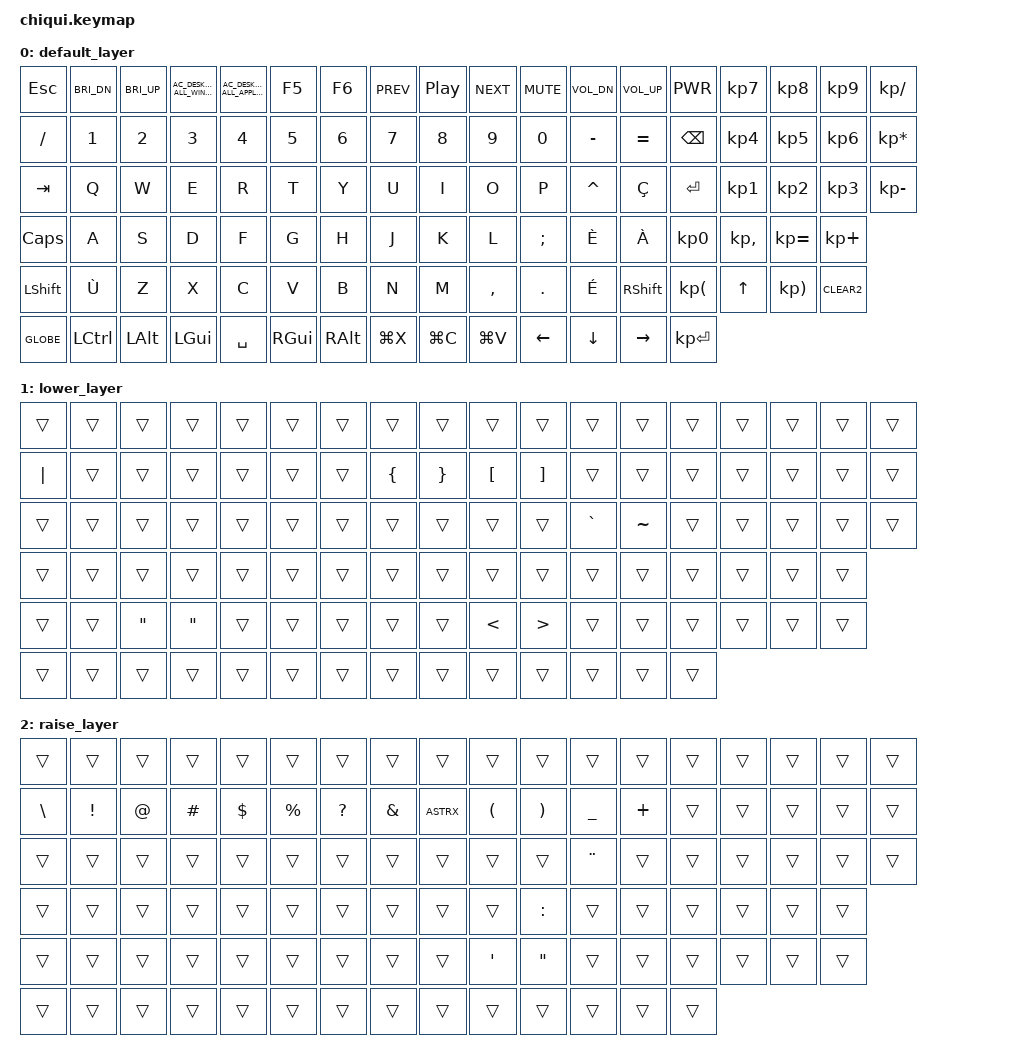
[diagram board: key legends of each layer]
/*
 * Copyright (c) 2020 The ZMK Contributors
 *
 * SPDX-License-Identifier: MIT
 */

#include <behaviors.dtsi>
#include <dt-bindings/zmk/keys.h>
#include <dt-bindings/zmk/bt.h>

/ {
        keymap {
                compatible = "zmk,keymap";

                default_layer { 
// -----------------------------------------------------------------------------------------
// | ESC  |  F1  |  F2  |  F3  |  F4  |  F5  |  F6  |  F7  |  F8  |  F9  |  F10 |  F11 |  F12 | PWR  ||  7   |  8   |  9   |  /   |
// |  /   |  1   |  2   |  3   |  4   |  5   |  6   |  7   |  8   |  9   |  0   |  -   |  =   | BSPC ||  4   |  5   |  6   |  *   |
// | TAB  |  Q   |  W   |  E   |  R   |  T   |  Y   |  U   |  I   |  O   |  P   |  ^   |  Ç   | ENT  ||  1   |  2   |  3   |  -   |
// | CAPS |  A   |  S   |  D   |  F   |  G   |  H   |  J   |  K   |  L   |  ;   |  È   |  À   |      ||  0   |  ,   |  =   |  +   |
// | SHFT |  Ù   |  Z   |  X   |  C   |  V   |  B   |  N   |  M   |  ,   |  .   |  É   | SHFT |      ||  (   |  UP  |  )   | CLEAR|
// | GLOBE| CTRL | LALT | LGUI |      |      |  SPC |      |      | RGUI | RALT | CMD+X| CMD+C| CMD+V|| LEFT | DOWN | RIGHT| ENTER|
                        bindings = <
   &kp ESC &kp C_BRI_DN &kp C_BRI_UP &kp C_AC_DESKTOP_SHOW_ALL_WINDOWS &kp C_AC_DESKTOP_SHOW_ALL_APPLICATIONS &kp F5 &kp F6 &kp C_PREV &kp C_PP &kp C_NEXT &kp C_MUTE &kp C_VOL_DN &kp C_VOL_UP &kp C_PWR &kp KP_N7 &kp KP_N8 &kp KP_N9 &kp KP_SLASH

   &kp SLASH &kp N1 &kp N2 &kp N3 &kp N4 &kp N5 &kp N6 &kp N7 &kp N8 &kp N9 &kp N0 &kp MINUS &kp EQUAL &kp BSPC &kp KP_N4 &kp KP_N5 &kp KP_N6 &kp KP_ASTERISK

   &kp TAB &kp Q &kp W &kp E &kp R &kp T &kp Y &kp U &kp I &kp O &kp P &kp CARET &kp Ç &kp ENTER &kp KP_N1 &kp KP_N2 &kp KP_N3 &kp KP_MINUS

   &kp CAPS &kp A &kp S &kp D &kp F &kp G &kp H &kp J &kp K &kp L &kp SEMI &kp È &kp À &kp KP_N0 &kp KP_COMMA &kp KP_EQUAL &kp KP_PLUS

   &kp LSHFT &kp Ù &kp Z &kp X &kp C &kp V &kp B &kp N &kp M &kp COMMA &kp DOT &kp É &kp RSHFT &kp KP_LPAR &kp UP &kp KP_RPAR &kp CLEAR2

   &kp GLOBE &kp LCTRL &kp LALT &kp LGUI &kp SPC &kp RGUI &kp RALT &kp LG(X) &kp LG(C) &kp LG(V) &kp LEFT &kp DOWN &kp RIGHT &kp KP_ENTER
                        >;
                };

                lower_layer {
// -----------------------------------------------------------------------------------------
// |      |      |      |      |      |      |      |      |      |      |      |      |      |      ||      |      |      |      |
// |  |   |      |      |      |      |      |      |  {   |  }   |  [   |  ]   |      |      |      ||      |      |      |      |
// |      |      |      |      |      |      |      |      |      |      |      |  `   |  ~   |      ||      |      |      |      |
// |      |      |      |      |      |      |      |      |      |      |      |      |      |      ||      |      |      |      |
// |      |      |  «   |  »   |      |      |      |      |      |  <   |  >   |      |      |      ||      |      |      |      |
// |      |      |      |      |      |      |      |      |      |      |      |      |      |      ||      |      |      |      |
                        bindings = <
   &trans  &trans  &trans  &trans  &trans  &trans  &trans  &trans  &trans  &trans  &trans  &trans  &trans  &trans  &trans  &trans  &trans  &trans

   &kp PIPE &trans  &trans  &trans  &trans  &trans  &trans  &kp LBRC &kp RBRC &kp LBKT &kp RBKT &trans  &trans  &trans  &trans  &trans  &trans  &trans

   &trans  &trans  &trans  &trans  &trans  &trans  &trans  &trans  &trans  &trans  &trans  &kp GRAVE &kp TILDE &trans  &trans  &trans  &trans  &trans

   &trans  &trans  &trans  &trans  &trans  &trans  &trans  &trans  &trans  &trans  &trans  &trans  &trans  &trans  &trans  &trans  &trans

   &trans  &trans  &kp DQT &kp DQT &trans  &trans  &trans  &trans  &trans  &kp LT &kp GT &trans  &trans  &trans  &trans  &trans  &trans

   &trans  &trans  &trans  &trans  &trans  &trans  &trans  &trans  &trans  &trans  &trans  &trans  &trans  &trans
                        >;
                };

                raise_layer {
// -----------------------------------------------------------------------------------------
// |      |      |      |      |      |      |      |      |      |      |      |      |      |      ||      |      |      |      |
// |  \   |  !   |  @   |  #   |  $   |  %   |  ?   |  &   |  *   |  (   |  )   |  _   |  +   |      ||      |      |      |      |
// |      |      |      |      |      |      |      |      |      |      |      |  ¨   |      |      ||      |      |      |      |
// |      |      |      |      |      |      |      |      |      |      |  :   |      |      |      ||      |      |      |      |
// |      |      |      |      |      |      |      |      |      |  '   |  "   |      |      |      ||      |      |      |      |
// |      |      |      |      |      |      |      |      |      |      |      |      |      |      ||      |      |      |      |
                        bindings = <
   &trans  &trans  &trans  &trans  &trans  &trans  &trans  &trans  &trans  &trans  &trans  &trans  &trans  &trans  &trans  &trans  &trans  &trans

   &kp BSLH &kp EXCL &kp AT &kp HASH &kp DLLR &kp PRCNT &kp QMARK &kp AMPS &kp ASTRX &kp LPAR &kp RPAR &kp UNDER &kp PLUS &trans  &trans  &trans  &trans  &trans

   &trans  &trans  &trans  &trans  &trans  &trans  &trans  &trans  &trans  &trans  &trans &kp ¨ &trans  &trans  &trans  &trans  &trans  &trans

   &trans  &trans  &trans  &trans  &trans  &trans  &trans  &trans  &trans  &trans  &kp COLON &trans  &trans  &trans  &trans  &trans  &trans

   &trans  &trans  &trans  &trans  &trans  &trans  &trans  &trans  &trans  &kp SQT &kp DQT &trans  &trans  &trans  &trans  &trans  &trans

   &trans  &trans  &trans  &trans  &trans  &trans  &trans  &trans  &trans  &trans  &trans  &trans  &trans  &trans
                        >;
                };
        };
};
